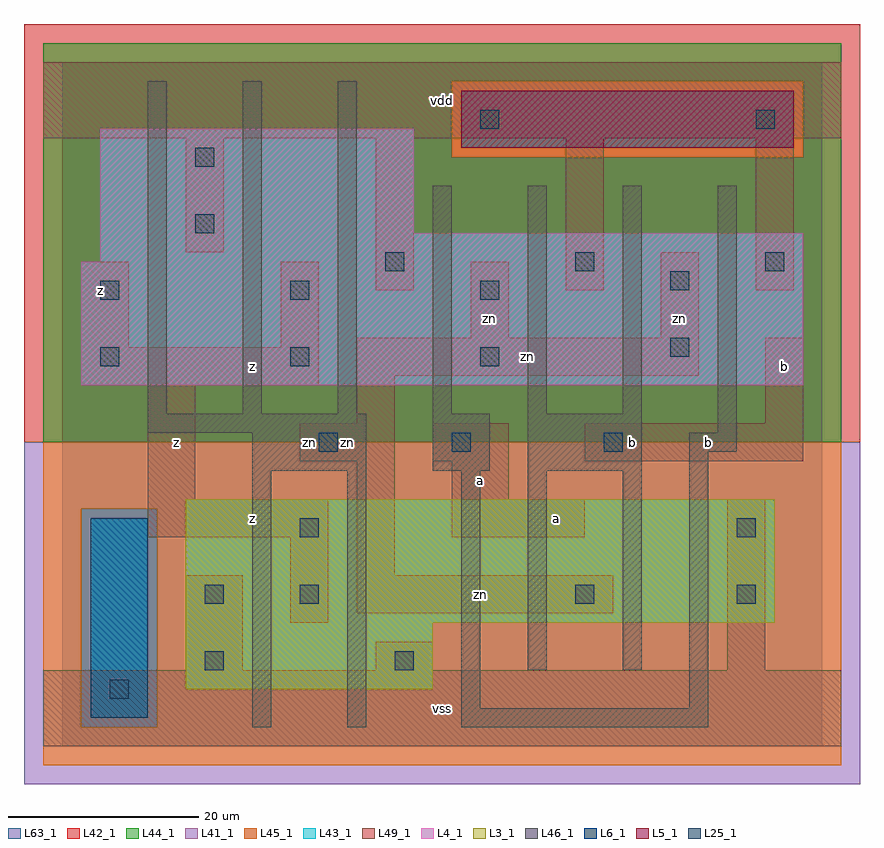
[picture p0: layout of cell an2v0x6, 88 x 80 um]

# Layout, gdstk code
import gdstk
lib = gdstk.Library(unit=1e-6, precision=1e-09)
def R(c, l, rs):  # rectangles x0, y0, x1, y1
    for r in rs: c.add(gdstk.rectangle(r[:2], r[2:], *l))
def A(c, l, x, y, w, h, nx, ny, dx, dy):  # array of equal rectangles
    R(c, l, [(x+i*dx, y+j*dy, x+i*dx+w, y+j*dy+h) for i in range(nx) for j in range(ny)])
L3_1 = (3, 1)
L4_1 = (4, 1)
L5_1 = (5, 1)
L6_1 = (6, 1)
L25_1 = (25, 1)
L41_1 = (41, 1)
L42_1 = (42, 1)
L43_1 = (43, 1)
L44_1 = (44, 1)
L45_1 = (45, 1)
L46_1 = (46, 1)
L49_1 = (49, 1)
L63_1 = (63, 1)

an2v0x6 = lib.new_cell('an2v0x6')
R(an2v0x6, L3_1, [(13,6,39,13), (13,13,75,26)])
R(an2v0x6, L4_1, [(2,38,78,51), (4,51,78,54), (4,54,37,65)])
R(an2v0x6, L5_1, [(42,63,77,69)])
R(an2v0x6, L6_1, [(3,3,9,24), (3,3,9,24)])
A(an2v0x6, L25_1, 4, 40, 2, 2, 3, 2, 20, 7)
A(an2v0x6, L25_1, 34, 50, 2, 2, 3, 1, 20, 0)
R(an2v0x6, L25_1, [(5,5,7,7), (15,8,17,10), (35,8,37,10), (15,15,17,17), (25,15,27,17), (54,15,56,17), (71,15,73,17), (25,22,27,24), (71,22,73,24), (27,31,29,33), (41,31,43,33), (57,31,59,33), (64,41,66,43), (64,48,66,50), (14,54,16,56), (14,61,16,63), (44,65,46,67), (73,65,75,67)])
R(an2v0x6, L41_1, [(-4,-4,84,32)])
R(an2v0x6, L42_1, [(-4,32,84,76)])
R(an2v0x6, L43_1, [(3,3,9,24), (13,6,39,13), (13,13,75,26), (2,38,78,51), (4,51,78,54), (4,54,37,65), (42,63,77,69)])
R(an2v0x6, L44_1, [(2,2,10,25), (-2,32,82,62), (-2,62,41,70), (78,62,82,70), (-2,70,82,74)])
R(an2v0x6, L45_1, [(-2,-2,82,2), (-2,2,2,25), (10,2,82,25), (-2,25,82,32), (41,62,78,70)])
A(an2v0x6, L46_1, 9, 35, 2, 35, 3, 1, 10, 0)
A(an2v0x6, L46_1, 39, 35, 2, 24, 3, 1, 10, 0)
R(an2v0x6, L46_1, [(20,2,22,29), (30,2,32,29), (42,2,68,4), (42,4,44,29), (66,4,68,31), (49,8,51,29), (59,8,61,29), (20,29,32,33), (39,29,45,35), (49,29,61,35), (66,31,71,33), (9,33,32,35), (69,33,71,59)])
A(an2v0x6, L49_1, 33, 48, 4, 16, 3, 1, 20, 0)
R(an2v0x6, L49_1, [(-2,0,82,8), (13,8,19,18), (33,8,39,11), (70,8,74,26), (24,13,28,22), (31,14,58,18), (31,18,35,30), (9,22,28,26), (41,22,55,26), (9,26,14,38), (41,26,47,30), (25,30,35,34), (39,30,47,34), (55,30,78,34), (31,34,35,39), (74,34,78,43), (2,38,27,42), (31,39,67,43), (2,42,7,51), (23,42,27,51), (43,43,47,51), (63,43,67,52), (13,52,17,64), (-2,64,82,72)])
R(an2v0x6, L63_1, [(0,0,80,72)])
an2v0x6.add(gdstk.Label('zn', (26,32), layer=46, texttype=1))
an2v0x6.add(gdstk.Label('z', (12,32), layer=49, texttype=1))
an2v0x6.add(gdstk.Label('z', (4,48), layer=49, texttype=1))
an2v0x6.add(gdstk.Label('z', (20,24), layer=49, texttype=1))
an2v0x6.add(gdstk.Label('zn', (30,32), layer=49, texttype=1))
an2v0x6.add(gdstk.Label('z', (20,40), layer=49, texttype=1))
an2v0x6.add(gdstk.Label('vss', (40,4), layer=49, texttype=1))
an2v0x6.add(gdstk.Label('zn', (44,16), layer=49, texttype=1))
an2v0x6.add(gdstk.Label('a', (44,28), layer=49, texttype=1))
an2v0x6.add(gdstk.Label('a', (52,24), layer=49, texttype=1))
an2v0x6.add(gdstk.Label('zn', (45,45), layer=49, texttype=1))
an2v0x6.add(gdstk.Label('vdd', (40,68), layer=49, texttype=1))
an2v0x6.add(gdstk.Label('b', (60,32), layer=49, texttype=1))
an2v0x6.add(gdstk.Label('b', (68,32), layer=49, texttype=1))
an2v0x6.add(gdstk.Label('b', (76,40), layer=49, texttype=1))
an2v0x6.add(gdstk.Label('zn', (65,45), layer=49, texttype=1))
an2v0x6.add(gdstk.Label('zn', (49,41), layer=49, texttype=1))

lib.write_gds('an2v0x6.gds')
